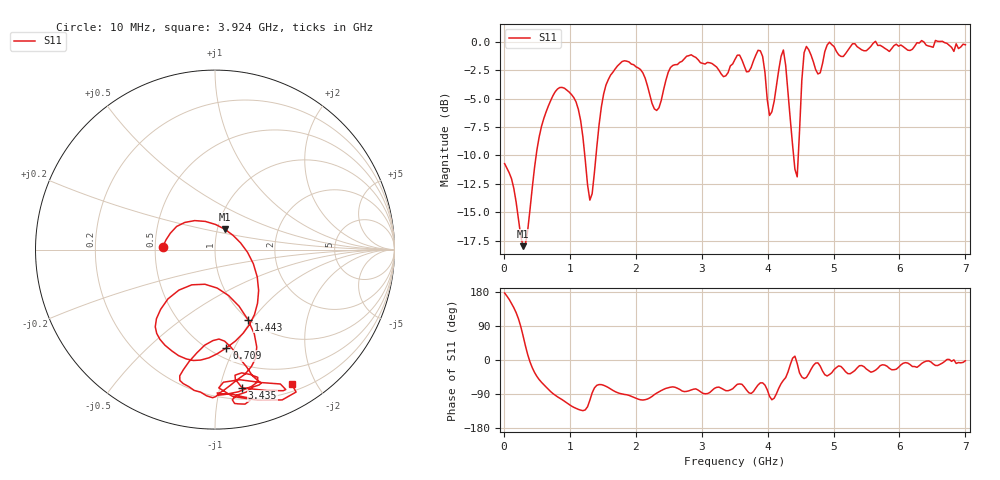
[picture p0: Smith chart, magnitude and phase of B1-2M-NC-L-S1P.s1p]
!File created by NanoVNA
# Hz S RI R 50
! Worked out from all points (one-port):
!   201 points, 10 MHz to 7 GHz, reference 50 ohm
!   lowest |S11| = -18.0 dB at 289.6 MHz (marker M1), VSWR 1.29, Z = 54.3 + j12.5 ohm
!   |S11| at or under -10 dB: start of sweep to 488.7 MHz; 1.226 GHz to 1.397 GHz (170.4 MHz wide, 13 % of centre); 4.394 GHz to 4.465 GHz (71.55 MHz wide, 1.62 % of centre)
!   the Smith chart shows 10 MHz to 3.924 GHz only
!   S11 on the Smith chart (normalised r, x): 10 MHz: 0.55, +0.02; 709 MHz: 0.59, -0.93; 1.443 GHz: 0.99, -0.95; 3.435 GHz: 0.29, -1.17; 3.924 GHz: 0.29, -1.68
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1e7  -0.2906 0.0163
2.896e8  0.0546 0.1137
7.09e8  0.0631 -0.5476
8.8375e8  -0.1603 -0.609
1.1284e9  -0.3262 -0.3849
1.30315e9  -0.0562 -0.1931
1.44295e9  0.1834 -0.3903
1.7575e9  0.0239 -0.8001
2.107e9  -0.1964 -0.7033
2.3167e9  0.0223 -0.4983
2.63125e9  0.2118 -0.7654
3.4351e9  0.1503 -0.7696
3.505e9  0.2891 -0.7854
3.74965e9  0.0209 -0.7705
3.9244e9  0.4272 -0.7488
4.0642e9  -0.1267 -0.4754
4.23895e9  0.5456 -0.7412
4.37875e9  0.3495 0.0287
4.44865e9  0.2512 -0.0411
4.5535e9  0.5889 -0.6762
4.7632e9  0.7156 -0.0961
4.903e9  0.7171 -0.6502
5.07775e9  0.8446 -0.2345
5.2525e9  0.7656 -0.5604
5.3923e9  0.9048 -0.2439
5.56705e9  0.809 -0.5086
6.12625e9  0.9094 -0.1306
7e9  0.97 -0.0327
